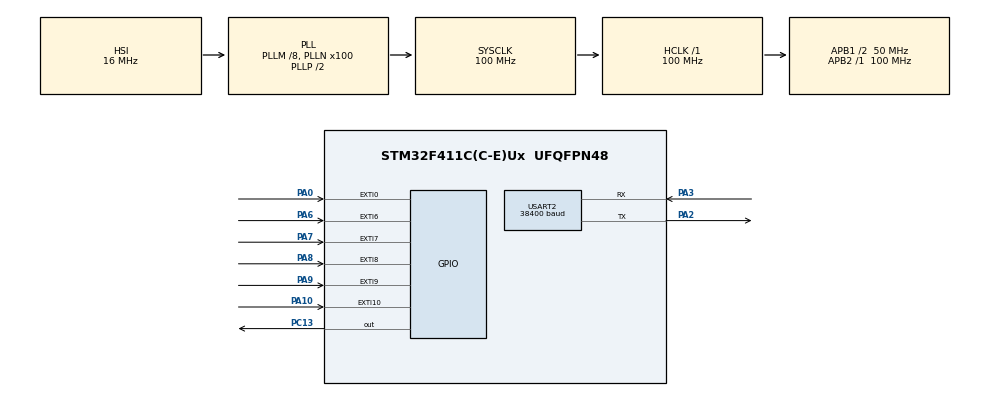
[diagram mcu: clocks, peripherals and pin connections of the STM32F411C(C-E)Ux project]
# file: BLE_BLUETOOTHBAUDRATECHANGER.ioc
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Mcu.Family=STM32F4
Mcu.Name=STM32F411C(C-E)Ux
Mcu.Package=UFQFPN48
NVIC.EXTI0_IRQn=true\:0\:0\:false\:false\:true\:true\:true\:true
NVIC.EXTI15_10_IRQn=true\:0\:0\:false\:false\:true\:true\:true\:true
NVIC.EXTI9_5_IRQn=true\:0\:0\:false\:false\:true\:true\:true\:true
NVIC.PriorityGroup=NVIC_PRIORITYGROUP_4
PA0-WKUP.GPIO_ModeDefaultEXTI=GPIO_MODE_IT_FALLING
PA0-WKUP.GPIO_PuPd=GPIO_PULLUP
PA0-WKUP.Signal=GPXTI0
PA10.GPIO_ModeDefaultEXTI=GPIO_MODE_IT_FALLING
PA10.GPIO_PuPd=GPIO_PULLUP
PA10.Signal=GPXTI10
PA13.Mode=Serial_Wire
PA13.Signal=SYS_JTMS-SWDIO
PA14.Mode=Serial_Wire
PA14.Signal=SYS_JTCK-SWCLK
PA2.Mode=Asynchronous
PA2.Signal=USART2_TX
PA3.Mode=Asynchronous
PA3.Signal=USART2_RX
PA6.GPIO_ModeDefaultEXTI=GPIO_MODE_IT_FALLING
PA6.GPIO_PuPd=GPIO_PULLUP
PA6.Signal=GPXTI6
PA7.GPIO_ModeDefaultEXTI=GPIO_MODE_IT_FALLING
PA7.GPIO_PuPd=GPIO_PULLUP
PA7.Signal=GPXTI7
PA8.GPIO_ModeDefaultEXTI=GPIO_MODE_IT_FALLING
PA8.GPIO_PuPd=GPIO_PULLUP
PA8.Signal=GPXTI8
PA9.GPIO_ModeDefaultEXTI=GPIO_MODE_IT_FALLING
PA9.GPIO_PuPd=GPIO_PULLUP
PA9.Signal=GPXTI9
PC13-ANTI_TAMP.GPIO_PuPd=GPIO_PULLUP
PC13-ANTI_TAMP.Signal=GPIO_Output
PH0\ -\ OSC_IN.Mode=HSE-External-Oscillator
PH0\ -\ OSC_IN.Signal=RCC_OSC_IN
PH1\ -\ OSC_OUT.Mode=HSE-External-Oscillator
PH1\ -\ OSC_OUT.Signal=RCC_OSC_OUT
ProjectManager.HeapSize=0x200
ProjectManager.StackSize=0x400
ProjectManager.TargetToolchain=STM32CubeIDE
RCC.48MHZClocksFreq_Value=40000000
RCC.AHBFreq_Value=100000000
RCC.APB1CLKDivider=RCC_HCLK_DIV2
RCC.APB1Freq_Value=50000000
RCC.APB1TimFreq_Value=100000000
RCC.APB2Freq_Value=100000000
RCC.APB2TimFreq_Value=100000000
RCC.CortexFreq_Value=100000000
RCC.HCLKFreq_Value=100000000
RCC.HSE_VALUE=25000000
RCC.HSI_VALUE=16000000
RCC.LSE_VALUE=32768
RCC.PLLM=8
RCC.PLLN=100
RCC.PLLQ=5
RCC.SYSCLKFreq_VALUE=100000000
RCC.SYSCLKSource=RCC_SYSCLKSOURCE_PLLCLK
RCC.VCOOutputFreq_Value=200000000
USART2.BaudRate=38400
USART2.VirtualMode=VM_ASYNC
board=custom

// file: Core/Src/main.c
/* USER CODE BEGIN Header */
/**
 ******************************************************************************
 * @file           : main.c
 * @brief          : Main program body
 ******************************************************************************
 * @attention
 *
 * Copyright (c) 2024 STMicroelectronics.
 * All rights reserved.
 *
 * This software is licensed under terms that can be found in the LICENSE file
 * in the root directory of this software component.
 * If no LICENSE file comes with this software, it is provided AS-IS.
 *
 ******************************************************************************
 */
/* USER CODE END Header */
#include "main.h"

/* USER CODE BEGIN Includes */
#include <string.h>
/* USER CODE END Includes */

/* USER CODE BEGIN PD */
#define PRINT_BUFFER_SIZE 500
#define RESPONSE_BUFFER_SIZE 100
// #define BLE
#define BLUETOOTH
/* USER CODE END PD */

UART_HandleTypeDef huart2;

/* USER CODE BEGIN PV */
uint8_t flag6 = 0;  // pushbutton 1 no protoboard
uint8_t flag7 = 0;  // pushbutton 2 no protoboard
uint8_t flag8 = 0;  // pushbutton 3 no protoboard
uint8_t flag9 = 0;  // pushbutton 4 no protoboard
uint8_t flag10 = 0; // pushbutton 5 no protoboard
uint8_t flag0 = 0;  // pushbutton "KEY" no STM32
uint8_t timeOut = 200;
uint32_t detectedBR;
char rxBuffer[100];
char testAT[] = "AT\r\n"; // O BLE HM-10 retorna "OK"
char testBluetooth[] = "AT+UART?\r\n";
uint32_t baudRates[] = { 1200, 2400, 4800, 9600, 19200, 38400, 57600, 115200 };

#ifdef BLE
char *BLE_baudRateCodes[] = { "AT+BAUD1\r\n", // 1200
		"AT+BAUD2\r\n", // 2400
		"AT+BAUD3\r\n", // 4800
		"AT+BAUD4\r\n", // 9600   Botão 1 PA6 Normalmente padrão
		"AT+BAUD5\r\n", // 19200  Botão 2 PA7
		"AT+BAUD6\r\n", // 38400  Botão 3 PA8
		"AT+BAUD7\r\n", // 57600  Botão 4 PA9
		"AT+BAUD8\r\n"  // 115200 Botão 5 PA10
		};
#endif

#ifdef BLUETOOTH
char *BLUETOOTH_baudRateCodes[] = { "AT+UART=1200,0,0\r\n", // 1200
		"AT+UART=2400,0,0\r\n", // 2400
		"AT+UART=4800,0,0\r\n", // 4800
		"AT+UART=9600,0,0\r\n", // 9600   Botão 1 PA6 Normalmente padrão
		"AT+UART=19200,0,0\r\n", // 19200  Botão 2 PA7
		"AT+UART=38400,0,0\r\n", // 38400  Botão 3 PA8
		"AT+UART=57600,0,0\r\n", // 57600  Botão 4 PA9
		"AT+UART=115200,0,0\r\n"  // 115200 Botão 5 PA10
		};
#endif

/* USER CODE END PV */

void SystemClock_Config(void);
static void MX_GPIO_Init(void);
static void MX_USART2_UART_Init(void);
/* USER CODE BEGIN PFP */
uint32_t detectBaudRate();
void changeBaudRate(uint8_t bRateCode, char *Buf);
void blinkTest(uint8_t, uint16_t);
void HAL_GPIO_EXTI_Callback(uint16_t GPIO_Pin);

/* USER CODE END PFP */

int main(void)
{

  /* MCU Configuration--------------------------------------------------------*/

  /* Reset of all peripherals, Initializes the Flash interface and the Systick. */
  HAL_Init();

  /* Configure the system clock */
  SystemClock_Config();

  /* Initialize all configured peripherals */
  MX_GPIO_Init();
  MX_USART2_UART_Init();
  /* USER CODE BEGIN 2 */
	HAL_Delay(1000);

  /* USER CODE END 2 */

  /* Infinite loop */
  /* USER CODE BEGIN WHILE */
	while (1) {

		if (flag0) {
			HAL_GPIO_WritePin(GPIOC, GPIO_PIN_13, GPIO_PIN_SET);
			// LED apagado indicando mode de alteração
			// Se flag0 então pode-se alterar a baudrate
			if (flag6) {
				detectedBR = detectBaudRate();
				if (detectedBR == baudRates[3]) {
					blinkTest(10, 50); // Pisca rápido indicando que a baudrate selecionda
				}
				else {               // já é a baudrate atual do BLE
					#ifdef BLE
						changeBaudRate(3, BLE_baudRateCodes[3]); // "AT+BAUD4\r\n" 9600
					#endif
					#ifdef BLUETOOTH
						changeBaudRate(3, BLUETOOTH_baudRateCodes[3]); // "AT+BAUD4\r\n" 9600
					#endif
					HAL_Delay(200);
					detectedBR = detectBaudRate();
					if (detectedBR == baudRates[3]) {
						blinkTest(4, 300);
					}
					else {
						blinkTest(10, 50); // Pisca rápido indicando que a baudrate selecionda
					}					   // já é a baudrate atual do BLE
				}
				NVIC_SystemReset(); // Reseta o STM32
			}
			if (flag7) {
				detectedBR = detectBaudRate();
				if (detectedBR == baudRates[4]) {
					blinkTest(10, 50);
				}
				else {
					#ifdef BLE
						changeBaudRate(4, BLE_baudRateCodes[4]); // "AT+BAUD5\r\n" 19200
					#endif
					#ifdef BLUETOOTH
						changeBaudRate(4, BLUETOOTH_baudRateCodes[4]); // "AT+BAUD5\r\n" 19200
					#endif
					HAL_Delay(200);
					detectedBR = detectBaudRate();
					if (detectedBR == baudRates[4]) {
						blinkTest(5, 300);
					}
					else {
						blinkTest(10, 50);
					}
				}
				NVIC_SystemReset(); // Reseta o STM32
			}
			if (flag8) {
				detectedBR = detectBaudRate();
				if (detectedBR == baudRates[5]) {
					blinkTest(10, 50);
				}
				else {
					#ifdef BLE
						changeBaudRate(5, BLE_baudRateCodes[5]); // "AT+BAUD6\r\n" 38400
					#endif
					#ifdef BLUETOOTH
						changeBaudRate(5, BLUETOOTH_baudRateCodes[5]); // "AT+BAUD6\r\n" 38400
					#endif
						HAL_Delay(200);
					detectedBR = detectBaudRate();
					if (detectedBR == baudRates[5]) {
						blinkTest(6, 300);
					}
					else {
						blinkTest(10, 50);
					}
				}
				NVIC_SystemReset(); // Reseta o STM32
			}
			if (flag9) {
				detectedBR = detectBaudRate();
				if (detectedBR == baudRates[6]) {
					blinkTest(10, 50);
				}
				else {
					#ifdef BLE
						changeBaudRate(6, BLE_baudRateCodes[6]); // "AT+BAUD7\r\n" 57600
					#endif
					#ifdef BLUETOOTH
						changeBaudRate(6, BLUETOOTH_baudRateCodes[6]); // "AT+BAUD7\r\n" 57600
					#endif
					HAL_Delay(200);
					detectedBR = detectBaudRate();
					if (detectedBR == baudRates[6]) {
						blinkTest(7, 300);
					}
					else {
						blinkTest(10, 50);
					}
				}
				NVIC_SystemReset(); // Reseta o STM32
			}
			if (flag10) {
				detectedBR = detectBaudRate();
				if (detectedBR == baudRates[7]) {
					blinkTest(10, 50);
				}
				else {
				#ifdef BLE
					changeBaudRate(7, BLE_baudRateCodes[7]); // "AT+BAUD48\r\r" 115200
				#endif

					HAL_Delay(200);
					detectedBR = detectBaudRate();
					if (detectedBR == baudRates[7]) {
						blinkTest(8, 300);
					}
					else {
						blinkTest(10, 50);
					}
				}
				NVIC_SystemReset(); // Reseta o STM32
			}

		}
		else {
			// Não se pode alterar a baudrate.
			// Somente a verificação está habilitada.
			if (flag6) {
				detectedBR = detectBaudRate();
				if (detectedBR == baudRates[3]) {
					blinkTest(4, 300);
				} else {
					blinkTest(10, 50); // Pisca rápido indicando que a baudrate selecionda
				}                      // já é a baudrate atual do BLE
				flag6 = 0;
			}

			if (flag7) {
				detectedBR = detectBaudRate();
				if (detectedBR == baudRates[4]) {
					blinkTest(5, 300);
				} else {
					blinkTest(10, 50);
				}
				flag7 = 0;
			}

			if (flag8) {
				detectedBR = detectBaudRate();
				if (detectedBR == baudRates[5]) {
					blinkTest(6, 300);
				} else {
					blinkTest(10, 50);
				}
				flag8 = 0;
			}

			if (flag9) {
				detectedBR = detectBaudRate();
				if (detectedBR == baudRates[6]) {
					blinkTest(7, 300);
				} else {
					blinkTest(10, 50);
				}
				flag9 = 0;
			}

			if (flag10) {
				detectedBR = detectBaudRate();
				if (detectedBR == baudRates[7]) {
					blinkTest(8, 300);
				} else {
					blinkTest(10, 50);
				}
				flag10 = 0;
			}
		}

    /* USER CODE END WHILE */

	}
}

void SystemClock_Config(void)
{
  RCC_OscInitTypeDef RCC_OscInitStruct = {0};
  RCC_ClkInitTypeDef RCC_ClkInitStruct = {0};

  /** Configure the main internal regulator output voltage
  */
  __HAL_RCC_PWR_CLK_ENABLE();
  __HAL_PWR_VOLTAGESCALING_CONFIG(PWR_REGULATOR_VOLTAGE_SCALE1);

  /** Initializes the RCC Oscillators according to the specified parameters
  * in the RCC_OscInitTypeDef structure.
  */
  RCC_OscInitStruct.OscillatorType = RCC_OSCILLATORTYPE_HSI;
  RCC_OscInitStruct.HSIState = RCC_HSI_ON;
  RCC_OscInitStruct.HSICalibrationValue = RCC_HSICALIBRATION_DEFAULT;
  RCC_OscInitStruct.PLL.PLLState = RCC_PLL_ON;
  RCC_OscInitStruct.PLL.PLLSource = RCC_PLLSOURCE_HSI;
  RCC_OscInitStruct.PLL.PLLM = 8;
  RCC_OscInitStruct.PLL.PLLN = 100;
  RCC_OscInitStruct.PLL.PLLP = RCC_PLLP_DIV2;
  RCC_OscInitStruct.PLL.PLLQ = 5;
  if (HAL_RCC_OscConfig(&RCC_OscInitStruct) != HAL_OK)
  {
    Error_Handler();
  }

  /** Initializes the CPU, AHB and APB buses clocks
  */
  RCC_ClkInitStruct.ClockType = RCC_CLOCKTYPE_HCLK|RCC_CLOCKTYPE_SYSCLK
                              |RCC_CLOCKTYPE_PCLK1|RCC_CLOCKTYPE_PCLK2;
  RCC_ClkInitStruct.SYSCLKSource = RCC_SYSCLKSOURCE_PLLCLK;
  RCC_ClkInitStruct.AHBCLKDivider = RCC_SYSCLK_DIV1;
  RCC_ClkInitStruct.APB1CLKDivider = RCC_HCLK_DIV2;
  RCC_ClkInitStruct.APB2CLKDivider = RCC_HCLK_DIV1;

  if (HAL_RCC_ClockConfig(&RCC_ClkInitStruct, FLASH_LATENCY_3) != HAL_OK)
  {
    Error_Handler();
  }
}

static void MX_USART2_UART_Init(void)
{

  huart2.Instance = USART2;
#ifdef BLUETOOTH
  huart2.Init.BaudRate = 38400;
#endif
#ifdef BLE
  huart2.Init.BaudRate = 9600;
#endif
  huart2.Init.WordLength = UART_WORDLENGTH_8B;
  huart2.Init.StopBits = UART_STOPBITS_1;
  huart2.Init.Parity = UART_PARITY_NONE;
  huart2.Init.Mode = UART_MODE_TX_RX;
  huart2.Init.HwFlowCtl = UART_HWCONTROL_NONE;
  huart2.Init.OverSampling = UART_OVERSAMPLING_16;
  if (HAL_UART_Init(&huart2) != HAL_OK)
  {
    Error_Handler();
  }

}

static void MX_GPIO_Init(void)
{
  GPIO_InitTypeDef GPIO_InitStruct = {0};

  /* GPIO Ports Clock Enable */
  __HAL_RCC_GPIOC_CLK_ENABLE();
  __HAL_RCC_GPIOH_CLK_ENABLE();
  __HAL_RCC_GPIOA_CLK_ENABLE();

  /*Configure GPIO pin Output Level */
  HAL_GPIO_WritePin(GPIOC, GPIO_PIN_13, GPIO_PIN_RESET);

  /*Configure GPIO pin : PC13 */
  GPIO_InitStruct.Pin = GPIO_PIN_13;
  GPIO_InitStruct.Mode = GPIO_MODE_OUTPUT_PP;
  GPIO_InitStruct.Pull = GPIO_PULLUP;
  GPIO_InitStruct.Speed = GPIO_SPEED_FREQ_LOW;
  HAL_GPIO_Init(GPIOC, &GPIO_InitStruct);

  /*Configure GPIO pins : PA0 PA6 PA7 PA8
                           PA9 PA10 */
  GPIO_InitStruct.Pin = GPIO_PIN_0|GPIO_PIN_6|GPIO_PIN_7|GPIO_PIN_8
                          |GPIO_PIN_9|GPIO_PIN_10;
  GPIO_InitStruct.Mode = GPIO_MODE_IT_FALLING;
  GPIO_InitStruct.Pull = GPIO_PULLUP;
  HAL_GPIO_Init(GPIOA, &GPIO_InitStruct);

  /* EXTI interrupt init*/
  HAL_NVIC_SetPriority(EXTI0_IRQn, 0, 0);
  HAL_NVIC_EnableIRQ(EXTI0_IRQn);

  HAL_NVIC_SetPriority(EXTI9_5_IRQn, 0, 0);
  HAL_NVIC_EnableIRQ(EXTI9_5_IRQn);

  HAL_NVIC_SetPriority(EXTI15_10_IRQn, 0, 0);
  HAL_NVIC_EnableIRQ(EXTI15_10_IRQn);

}

/* USER CODE BEGIN 4 */

uint32_t detectBaudRate() {
	int br;

#ifdef BLE
	for (int i = 0; i < 8; i++) {
		br = baudRates[i];
		huart2.Init.BaudRate = baudRates[i];
		HAL_UART_Init(&huart2);
		memset(rxBuffer, 0, sizeof(rxBuffer));
		HAL_UART_Transmit(&huart2, (uint8_t*) testAT, strlen(testAT), timeOut);
		HAL_UART_Receive(&huart2, (uint8_t*) rxBuffer, RESPONSE_BUFFER_SIZE, timeOut);
		if (strstr(rxBuffer, "OK") != NULL) {
			// Se na string rxBuffer existir um substring "OK"
			return br;
		}
		br = 0;
	}
#endif

#ifdef BLUETOOTH
	for (int i = 0; i < 8; i++) {
		br = baudRates[i];
//		huart2.Init.BaudRate = baudRates[i];
//		HAL_UART_Init(&huart2);
		char str[32];
		memset(rxBuffer, 0, sizeof(rxBuffer));
		HAL_UART_Transmit(&huart2, (uint8_t*) testBluetooth, strlen(testBluetooth), timeOut);
		HAL_UART_Receive(&huart2, (uint8_t*) rxBuffer, RESPONSE_BUFFER_SIZE, timeOut);
		sprintf(str, "%d", br);
		if (strstr(rxBuffer, str) != NULL) {
			// Se na string rxBuffer existir um substring "OK"
			return br;
		}
		br = 0;
	}
#endif

	return br;
}

void changeBaudRate(uint8_t bRateCode, char *Buf) {
	HAL_UART_Transmit(&huart2, (uint8_t*) Buf, strlen(Buf), timeOut);
	switch (bRateCode) {
	case 0:
		huart2.Init.BaudRate = baudRates[0];
		break;
	case 1:
		huart2.Init.BaudRate = baudRates[1];
		break;
	case 2:
		huart2.Init.BaudRate = baudRates[2];
		break;
	case 3:
		huart2.Init.BaudRate = baudRates[3];
		break;
	case 4:
		huart2.Init.BaudRate = baudRates[4];
		break;
	case 5:
		huart2.Init.BaudRate = baudRates[5];
		break;
	case 6:
		huart2.Init.BaudRate = baudRates[6];
		break;
	case 7:
		huart2.Init.BaudRate = baudRates[7];
		break;
	default:
		huart2.Init.BaudRate = baudRates[3];
		break;
	}
	HAL_UART_Init(&huart2);
}

void blinkTest(uint8_t bCode, uint16_t dly) {
	uint8_t nBlink;
	HAL_Delay(dly);
	HAL_GPIO_WritePin(GPIOC, GPIO_PIN_13, GPIO_PIN_RESET);
	for (uint8_t i = 0; i < 2 * bCode; i++) {
		// Multiplica por 2 porque são nBlink vezes acesos e nBlink vezes apagado
		HAL_GPIO_TogglePin(GPIOC, GPIO_PIN_13);
		HAL_Delay(dly);
	}
}

void HAL_GPIO_EXTI_Callback(uint16_t GPIO_Pin) {
	switch (GPIO_Pin) {
	case GPIO_PIN_0: // Alterna entre alteração ou somente verificação da baudrate
		flag0 = 1;
		break;
	case GPIO_PIN_6: // PA6 9600
		flag6 = 1;
		break;
	case GPIO_PIN_7: // PA7 19200
		flag7 = 1;
		break;
	case GPIO_PIN_8: // PA8 38400
		flag8 = 1;
		break;
	case GPIO_PIN_9: // PA9 57600
		flag9 = 1;
		break;
	case GPIO_PIN_10: // PA10 115200
		flag10 = 1;
		break;
	default:
		break;
	}
}

/* USER CODE END 4 */

void Error_Handler(void)
{
	__disable_irq();
	while (1) {
	}
}
